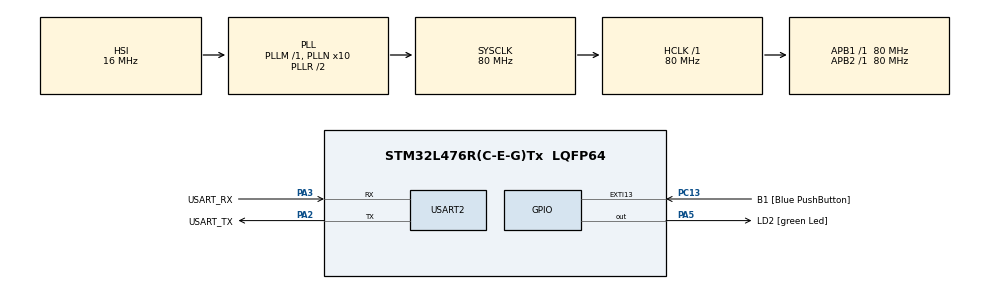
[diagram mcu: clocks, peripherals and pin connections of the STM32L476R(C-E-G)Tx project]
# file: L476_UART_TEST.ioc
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Mcu.Family=STM32L4
Mcu.Name=STM32L476R(C-E-G)Tx
Mcu.Package=LQFP64
NVIC.PriorityGroup=NVIC_PRIORITYGROUP_4
PA13\ (JTMS-SWDIO).GPIO_Label=TMS
PA13\ (JTMS-SWDIO).Mode=Serial_Wire
PA13\ (JTMS-SWDIO).Signal=SYS_JTMS-SWDIO
PA14\ (JTCK-SWCLK).GPIO_Label=TCK
PA14\ (JTCK-SWCLK).Mode=Serial_Wire
PA14\ (JTCK-SWCLK).Signal=SYS_JTCK-SWCLK
PA2.GPIO_Label=USART_TX
PA2.GPIO_Mode=GPIO_MODE_AF_PP
PA2.GPIO_PuPd=GPIO_NOPULL
PA2.GPIO_Speed=GPIO_SPEED_FREQ_VERY_HIGH
PA2.Mode=Asynchronous
PA2.Signal=USART2_TX
PA3.GPIO_Label=USART_RX
PA3.GPIO_Mode=GPIO_MODE_AF_PP
PA3.GPIO_PuPd=GPIO_NOPULL
PA3.GPIO_Speed=GPIO_SPEED_FREQ_VERY_HIGH
PA3.Mode=Asynchronous
PA3.Signal=USART2_RX
PA5.GPIO_Label=LD2 [green Led]
PA5.GPIO_ModeDefaultOutputPP=GPIO_MODE_OUTPUT_PP
PA5.GPIO_PuPd=GPIO_NOPULL
PA5.GPIO_Speed=GPIO_SPEED_FREQ_LOW
PA5.Signal=GPIO_Output
PB3\ (JTDO-TRACESWO).GPIO_Label=SWO
PB3\ (JTDO-TRACESWO).Signal=SYS_JTDO-SWO
PC13.GPIO_Label=B1 [Blue PushButton]
PC13.GPIO_ModeDefaultEXTI=GPIO_MODE_IT_FALLING
PC13.GPIO_PuPd=GPIO_NOPULL
PC13.Signal=GPXTI13
PC14-OSC32_IN\ (PC14).Mode=LSE-External-Oscillator
PC14-OSC32_IN\ (PC14).Signal=RCC_OSC32_IN
PC15-OSC32_OUT\ (PC15).Mode=LSE-External-Oscillator
PC15-OSC32_OUT\ (PC15).Signal=RCC_OSC32_OUT
PH0-OSC_IN\ (PH0).Signal=RCC_OSC_IN
PH1-OSC_OUT\ (PH1).Signal=RCC_OSC_OUT
ProjectManager.HeapSize=0x200
ProjectManager.StackSize=0x400
ProjectManager.TargetToolchain=STM32CubeIDE
RCC.ADCFreq_Value=64000000
RCC.AHBFreq_Value=80000000
RCC.APB1Freq_Value=80000000
RCC.APB1TimFreq_Value=80000000
RCC.APB2Freq_Value=80000000
RCC.APB2TimFreq_Value=80000000
RCC.CortexFreq_Value=80000000
RCC.HCLKFreq_Value=80000000
RCC.HSE_VALUE=8000000
RCC.HSI_VALUE=16000000
RCC.MSI_VALUE=4000000
RCC.PLLN=10
RCC.PLLSourceVirtual=RCC_PLLSOURCE_HSI
RCC.PREFETCH_ENABLE=1
RCC.SYSCLKFreq_VALUE=80000000
RCC.SYSCLKSource=RCC_SYSCLKSOURCE_PLLCLK
RCC.USBFreq_Value=64000000
RCC.VCOOutputFreq_Value=160000000
USART2.VirtualMode-Asynchronous=VM_ASYNC
board=NUCLEO-L476RG

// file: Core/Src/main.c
/* USER CODE BEGIN Header */
/**
  ******************************************************************************
  * @file           : main.c
  * @brief          : Main program body
  ******************************************************************************
  * @attention
  *
  * Copyright (c) 2026 STMicroelectronics.
  * All rights reserved.
  *
  * This software is licensed under terms that can be found in the LICENSE file
  * in the root directory of this software component.
  * If no LICENSE file comes with this software, it is provided AS-IS.
  *
  ******************************************************************************
  */
/* USER CODE END Header */
#include "main.h"

#define USE_C_UART 1
/* USER CODE BEGIN Includes */
#if USE_C_UART
#include "app_uart.h"
#include "app.h"
#include "app_hw.h"
#else
#include "controller.hpp"
#endif

#include "controller.hpp"
/* USER CODE END Includes */

UART_HandleTypeDef huart2;

void SystemClock_Config(void);
static void MX_GPIO_Init(void);
static void MX_USART2_UART_Init(void);

int main(void)
{

  /* MCU Configuration--------------------------------------------------------*/

  /* Reset of all peripherals, Initializes the Flash interface and the Systick. */
  HAL_Init();

  /* Configure the system clock */
  SystemClock_Config();

  /* Initialize all configured peripherals */
  MX_GPIO_Init();
  MX_USART2_UART_Init();
  /* USER CODE BEGIN 2 */
#if USE_C_UART
  App_UartInit();
#else
  Controller_Init();
#endif
  /* USER CODE END 2 */

  /* Infinite loop */
  while (1)
  {

    /* USER CODE BEGIN 3 */
	  //app_run_once();
	//App_UartTask();
#if USE_C_UART
	App_UartTask();
    App_ButtonLedHw();
#else
	Controller_Update();
#endif
	HAL_Delay(1);

  }
  /* USER CODE END 3 */
}

void SystemClock_Config(void)
{
  RCC_OscInitTypeDef RCC_OscInitStruct = {0};
  RCC_ClkInitTypeDef RCC_ClkInitStruct = {0};

  /** Configure the main internal regulator output voltage
  */
  if (HAL_PWREx_ControlVoltageScaling(PWR_REGULATOR_VOLTAGE_SCALE1) != HAL_OK)
  {
    Error_Handler();
  }

  /** Initializes the RCC Oscillators according to the specified parameters
  * in the RCC_OscInitTypeDef structure.
  */
  RCC_OscInitStruct.OscillatorType = RCC_OSCILLATORTYPE_HSI;
  RCC_OscInitStruct.HSIState = RCC_HSI_ON;
  RCC_OscInitStruct.HSICalibrationValue = RCC_HSICALIBRATION_DEFAULT;
  RCC_OscInitStruct.PLL.PLLState = RCC_PLL_ON;
  RCC_OscInitStruct.PLL.PLLSource = RCC_PLLSOURCE_HSI;
  RCC_OscInitStruct.PLL.PLLM = 1;
  RCC_OscInitStruct.PLL.PLLN = 10;
  RCC_OscInitStruct.PLL.PLLP = RCC_PLLP_DIV7;
  RCC_OscInitStruct.PLL.PLLQ = RCC_PLLQ_DIV2;
  RCC_OscInitStruct.PLL.PLLR = RCC_PLLR_DIV2;
  if (HAL_RCC_OscConfig(&RCC_OscInitStruct) != HAL_OK)
  {
    Error_Handler();
  }

  /** Initializes the CPU, AHB and APB buses clocks
  */
  RCC_ClkInitStruct.ClockType = RCC_CLOCKTYPE_HCLK|RCC_CLOCKTYPE_SYSCLK
                              |RCC_CLOCKTYPE_PCLK1|RCC_CLOCKTYPE_PCLK2;
  RCC_ClkInitStruct.SYSCLKSource = RCC_SYSCLKSOURCE_PLLCLK;
  RCC_ClkInitStruct.AHBCLKDivider = RCC_SYSCLK_DIV1;
  RCC_ClkInitStruct.APB1CLKDivider = RCC_HCLK_DIV1;
  RCC_ClkInitStruct.APB2CLKDivider = RCC_HCLK_DIV1;

  if (HAL_RCC_ClockConfig(&RCC_ClkInitStruct, FLASH_LATENCY_4) != HAL_OK)
  {
    Error_Handler();
  }
}

static void MX_USART2_UART_Init(void)
{

  huart2.Instance = USART2;
  huart2.Init.BaudRate = 115200;
  huart2.Init.WordLength = UART_WORDLENGTH_8B;
  huart2.Init.StopBits = UART_STOPBITS_1;
  huart2.Init.Parity = UART_PARITY_NONE;
  huart2.Init.Mode = UART_MODE_TX_RX;
  huart2.Init.HwFlowCtl = UART_HWCONTROL_NONE;
  huart2.Init.OverSampling = UART_OVERSAMPLING_16;
  huart2.Init.OneBitSampling = UART_ONE_BIT_SAMPLE_DISABLE;
  huart2.AdvancedInit.AdvFeatureInit = UART_ADVFEATURE_NO_INIT;
  if (HAL_UART_Init(&huart2) != HAL_OK)
  {
    Error_Handler();
  }

}

static void MX_GPIO_Init(void)
{
  GPIO_InitTypeDef GPIO_InitStruct = {0};

  /* GPIO Ports Clock Enable */
  __HAL_RCC_GPIOC_CLK_ENABLE();
  __HAL_RCC_GPIOH_CLK_ENABLE();
  __HAL_RCC_GPIOA_CLK_ENABLE();
  __HAL_RCC_GPIOB_CLK_ENABLE();

  /*Configure GPIO pin Output Level */
  HAL_GPIO_WritePin(LD2_GPIO_Port, LD2_Pin, GPIO_PIN_RESET);

  /*Configure GPIO pin : B1_Pin */
  GPIO_InitStruct.Pin = B1_Pin;
  GPIO_InitStruct.Mode = GPIO_MODE_IT_FALLING;
  GPIO_InitStruct.Pull = GPIO_NOPULL;
  HAL_GPIO_Init(B1_GPIO_Port, &GPIO_InitStruct);

  /*Configure GPIO pin : LD2_Pin */
  GPIO_InitStruct.Pin = LD2_Pin;
  GPIO_InitStruct.Mode = GPIO_MODE_OUTPUT_PP;
  GPIO_InitStruct.Pull = GPIO_NOPULL;
  GPIO_InitStruct.Speed = GPIO_SPEED_FREQ_LOW;
  HAL_GPIO_Init(LD2_GPIO_Port, &GPIO_InitStruct);

}

void Error_Handler(void)
{
  __disable_irq();
  while (1)
  {
  }
}
